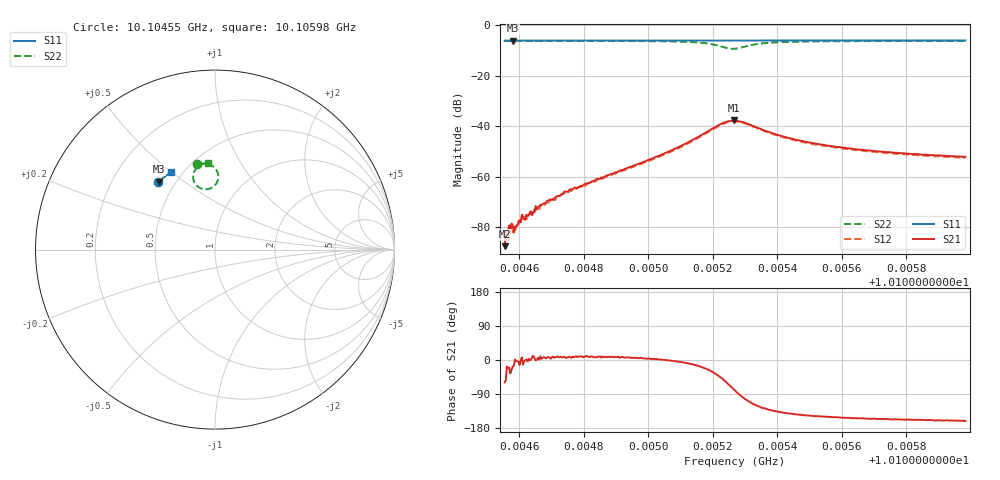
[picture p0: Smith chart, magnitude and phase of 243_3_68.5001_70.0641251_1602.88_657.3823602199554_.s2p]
#  HZ  S  RI  R  50.00
! Rohde & Schwarz Vector Network Analyzer
! Rohde-Schwarz,ZNB20-2Port,1311601062101988,3.16
! Created: UTC 3/20/2024, 5:14:39 PM
! freq[Hz]  re:S11  im:S11  re:S21  im:S21  re:S12  im:S12  re:S22  im:S22
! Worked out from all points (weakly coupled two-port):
!   401 points, 10.10455 GHz to 10.10598 GHz, reference 50 ohm
!   highest |S21| = -37.73 dB at 10.10527 GHz (marker M1); lowest = -87.4 dB at 10.10455 GHz (marker M2)
!   lowest |S11| = -6.2 dB at 10.10458 GHz (marker M3), VSWR 2.94, Z = 20.3 + j20.3 ohm
!   |S11| at or under -10 dB: nowhere
!   |S22| runs from -9.4 to -6.3 dB; largest |S21 - S12| = 0.0016
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1.0104554e10  -0.3151 0.3783  2.18e-05 -3.66e-05  4.69e-05 -4.88e-05  -0.0985 0.4742
1.0104579e10  -0.3138 0.3793  0.000105 -3.39e-05  8.49e-05 2.11e-07  -0.0966 0.4747
1.010459e10  -0.3132 0.3798  0.000104 -5.47e-06  0.000107 5.58e-06  -0.0957 0.4749
1.0104604e10  -0.3127 0.3804  0.000125 1.18e-06  0.000136 7.78e-06  -0.0945 0.4753
1.0104608e10  -0.3125 0.3805  0.000178 2.23e-05  0.000148 1.83e-05  -0.0941 0.4752
1.0104622e10  -0.3119 0.3811  0.000179 4.02e-06  0.000145 8.98e-06  -0.0928 0.4756
1.0104629e10  -0.3116 0.3814  0.000174 9.83e-06  0.000162 4.26e-05  -0.0923 0.4756
1.0104661e10  -0.3099 0.3826  0.00026 5.45e-06  0.000224 4.84e-05  -0.0895 0.4762
1.010474e10  -0.3064 0.3858  0.000508 7.14e-05  0.000464 0.000109  -0.082 0.4774
1.0104793e10  -0.3038 0.388  0.000648 0.000108  0.000605 0.000147  -0.0766 0.4783
1.0105033e10  -0.2925 0.3973  0.00261 8.05e-05  0.00247 0.00031  -0.0398 0.4768
1.0105119e10  -0.2882 0.4005  0.00458 -0.000627  0.00442 -0.000226  -0.0139 0.4657
1.0105208e10  -0.2837 0.4035  0.00785 -0.00573  0.00802 -0.00467  0.0183 0.4038
1.010524e10  -0.2821 0.4042  0.00643 -0.0102  0.0072 -0.00918  -0.00254 0.3557
1.0105265e10  -0.2811 0.4048  0.00273 -0.0127  0.00382 -0.012  -0.0487 0.3357
1.0105269e10  -0.2811 0.4049  0.00215 -0.0126  0.0033 -0.0121  -0.056 0.3357
1.010533e10  -0.2787 0.4075  -0.00454 -0.00879  -0.00365 -0.00892  -0.1213 0.3954
1.0105412e10  -0.2747 0.4107  -0.00477 -0.00433  -0.00423 -0.00457  -0.1089 0.4469
1.0105508e10  -0.2699 0.4142  -0.00392 -0.00251  -0.00353 -0.00277  -0.089 0.4662
1.0105641e10  -0.2634 0.419  -0.00315 -0.00158  -0.00289 -0.00178  -0.0699 0.4759
1.0105748e10  -0.258 0.4227  -0.00283 -0.00123  -0.00258 -0.00143  -0.0583 0.4798
1.0105984e10  -0.2459 0.4306  -0.00236 -0.000817  -0.00217 -0.000996  -0.0373 0.4843
